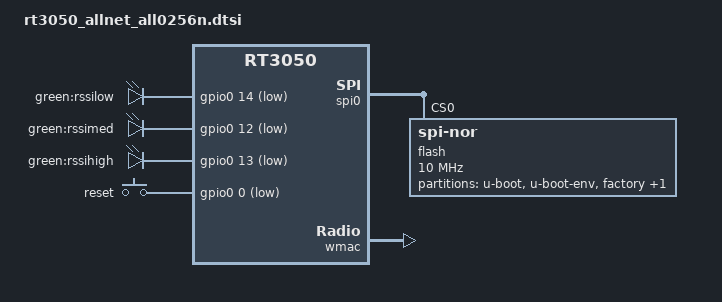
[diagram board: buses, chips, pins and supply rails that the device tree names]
#include "rt3050.dtsi"

#include <dt-bindings/gpio/gpio.h>
#include <dt-bindings/input/input.h>

/ {
	compatible = "allnet,all0256n", "ralink,rt3050-soc";

	leds {
		compatible = "gpio-leds";

		rssilow {
			label = "green:rssilow";
			gpios = <&gpio0 14 GPIO_ACTIVE_LOW>;
		};

		rssimed {
			label = "green:rssimed";
			gpios = <&gpio0 12 GPIO_ACTIVE_LOW>;
		};

		rssihigh {
			label = "green:rssihigh";
			gpios = <&gpio0 13 GPIO_ACTIVE_LOW>;
		};
	};

	keys {
		compatible = "gpio-keys-polled";
		poll-interval = <20>;

		reset {
			label = "reset";
			gpios = <&gpio0 0 GPIO_ACTIVE_LOW>;
			linux,code = <KEY_RESTART>;
		};
	};
};

&spi0 {
	status = "okay";

	flash@0 {
		compatible = "jedec,spi-nor";
		reg = <0>;
		spi-max-frequency = <10000000>;

		partitions {
			compatible = "fixed-partitions";
			#address-cells = <1>;
			#size-cells = <1>;

			partition@0 {
				label = "u-boot";
				reg = <0x0 0x30000>;
				read-only;
			};

			partition@30000 {
				label = "u-boot-env";
				reg = <0x30000 0x10000>;
				read-only;
			};

			partition@40000 {
				label = "factory";
				reg = <0x40000 0x10000>;
				read-only;

				nvmem-layout {
					compatible = "fixed-layout";
					#address-cells = <1>;
					#size-cells = <1>;

					eeprom_factory_0: eeprom@0 {
						reg = <0x0 0x200>;
					};

					macaddr_factory_28: macaddr@28 {
						reg = <0x28 0x6>;
					};
				};
			};

			firmware: partition@50000 {
				compatible = "denx,uimage";
				label = "firmware";
				/* reg property is set based on flash size in DTS files */
			};
		};
	};
};

&state_default {
	gpio {
		groups = "i2c", "jtag", "rgmii", "mdio", "uartf";
		function = "gpio";
	};
};

&ethernet {
	nvmem-cells = <&macaddr_factory_28>;
	nvmem-cell-names = "mac-address";
};

&esw {
	mediatek,portmap = <0x3f>;
};

&wmac {
	nvmem-cells = <&eeprom_factory_0>;
	nvmem-cell-names = "eeprom";
};
